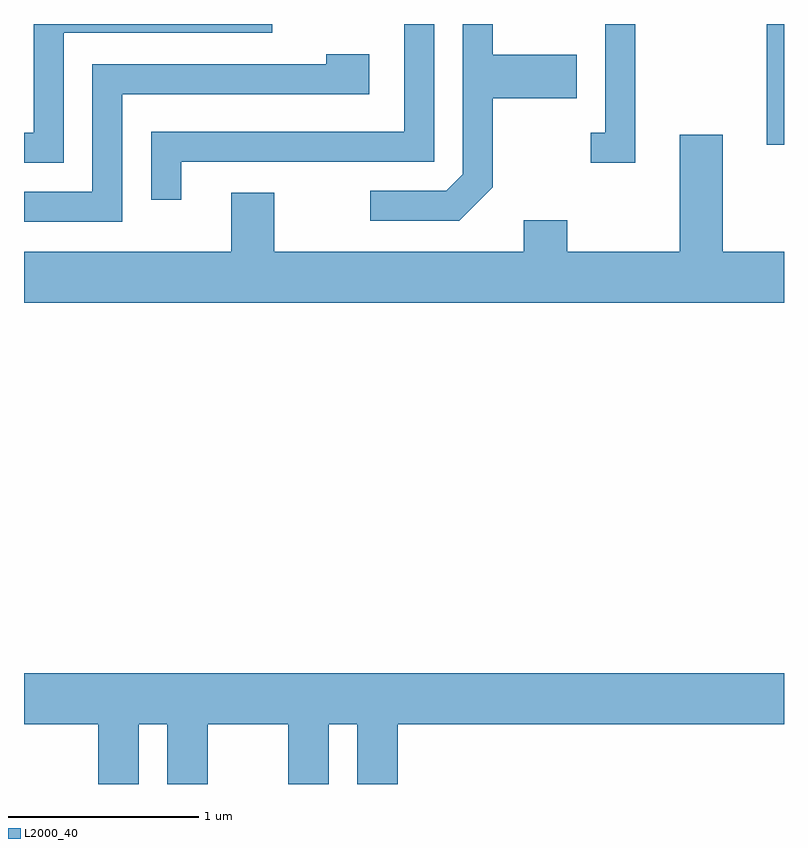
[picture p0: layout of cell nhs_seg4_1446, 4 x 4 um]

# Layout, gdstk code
import gdstk
lib = gdstk.Library(unit=1e-6, precision=1e-09)
def R(c, l, rs):  # rectangles x0, y0, x1, y1
    for r in rs: c.add(gdstk.rectangle(r[:2], r[2:], *l))
def P(c, l, *ps):  # polygons
    for p in ps: c.add(gdstk.Polygon(p, *l))
L2000_40 = (2000, 40)

nhs_seg4_1446 = lib.new_cell('nhs_seg4_1446')
R(nhs_seg4_1446, L2000_40, [(231.521,1293.346,231.611,1293.982)])
P(nhs_seg4_1446, L2000_40, [(230.829,1293.982),(230.671,1293.982),(230.671,1293.409),(230.593,1293.409),(230.593,1293.251),(230.829,1293.251)],
  [(230.079,1293.124),(230.079,1293.591),(230.519,1293.591),(230.519,1293.819),(230.079,1293.819),(230.079,1293.982),(229.921,1293.982),(229.921,1293.192),(229.834,1293.104),(229.433,1293.104),(229.433,1292.946),(229.902,1292.946)],
  [(227.819,1293.936),(228.918,1293.936),(228.918,1293.982),(227.661,1293.982),(227.661,1293.409),(227.611,1293.409),(227.611,1293.251),(227.819,1293.251)],
  [(228.439,1293.256),(229.769,1293.256),(229.769,1293.982),(229.611,1293.982),(229.611,1293.414),(228.281,1293.414),(228.281,1293.058),(228.439,1293.058)],
  [(228.129,1293.611),(229.429,1293.611),(229.429,1293.824),(229.201,1293.824),(229.201,1293.769),(227.971,1293.769),(227.971,1293.099),(227.611,1293.099),(227.611,1292.941),(228.129,1292.941)],
  [(231.611,1292.784),(231.289,1292.784),(231.289,1293.399),(231.061,1293.399),(231.061,1292.784),(230.469,1292.784),(230.469,1292.949),(230.241,1292.949),(230.241,1292.784),(228.929,1292.784),(228.929,1293.094),(228.701,1293.094),(228.701,1292.784),(227.611,1292.784),(227.611,1292.516),(231.611,1292.516)],
  [(228.214,1290.296),(228.366,1290.296),(228.366,1289.982),(228.579,1289.982),(228.579,1290.296),(229.001,1290.296),(229.001,1289.982),(229.214,1289.982),(229.214,1290.296),(229.366,1290.296),(229.366,1289.982),(229.579,1289.982),(229.579,1290.296),(231.611,1290.296),(231.611,1290.564),(227.611,1290.564),(227.611,1290.296),(228.001,1290.296),(228.001,1289.982),(228.214,1289.982)])

lib.write_gds('nhs_seg4_1446.gds')
